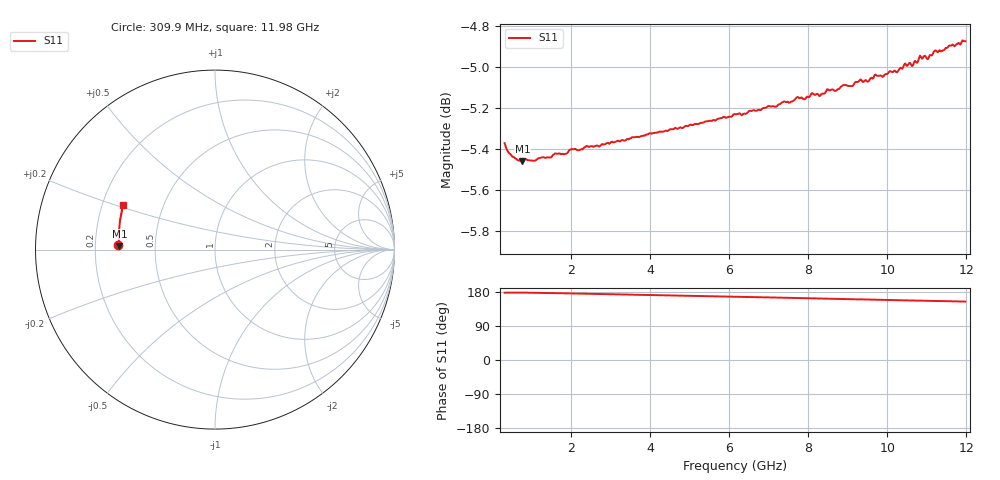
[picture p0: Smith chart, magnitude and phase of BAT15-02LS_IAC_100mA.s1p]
! Infineon Technologies  Discrete & RF Semiconductors
! BAT15-02ELS
! IAC = 100 mA
! One-Port S-Parameters
# Hz  S  MA  R  50
!f  S11
!Hz  Mag  Ang
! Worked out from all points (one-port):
!   468 points, 309.9 MHz to 11.98 GHz, reference 50 ohm
!   lowest |S11| = -5.5 dB at 759.6 MHz (marker M1), VSWR 3.29, Z = 15.2 + j0.885 ohm
!   |S11| at or under -10 dB: nowhere
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3.0985e8  0.5388 177.6
4.59775e8  0.5355 177.8
7.59625e8  0.5333 177.8
1.159425e9  0.5342 177.2
1.784112e9  0.5356 176.0
2.009e9  0.5371 175.6
3.233388e9  0.5393 173.1
4.70765e9  0.5432 169.9
6.156925e9  0.5476 166.9
7.6062e9  0.5516 163.7
7.831088e9  0.5528 163.4
8.030988e9  0.5529 162.8
8.2059e9  0.5538 162.5
8.630688e9  0.5552 161.6
8.8056e9  0.5557 161.1
8.930538e9  0.5567 160.9
9.080462e9  0.5563 160.5
9.30535e9  0.5582 160.0
9.980012e9  0.56 158.4
1.017991e10  0.5612 158.1
1.035482e10  0.5619 157.6
1.052974e10  0.563 157.3
1.077961e10  0.5641 156.6
1.095452e10  0.5658 156.4
1.112944e10  0.5659 155.9
1.130435e10  0.5673 155.6
1.187906e10  0.57 154.3
1.197901e10  0.5704 154.2
